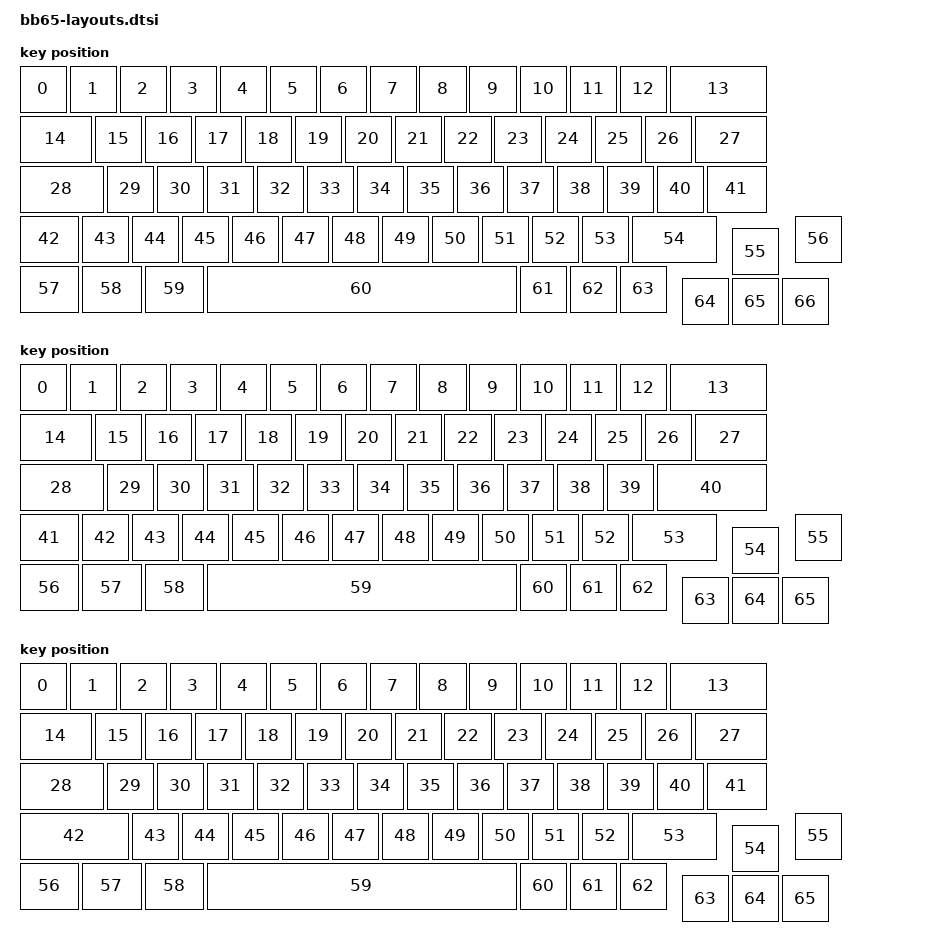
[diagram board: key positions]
/*
 * Copyright (c) 2024 The ZMK Contributors
 *
 * SPDX-License-Identifier: MIT
 */

#include <physical_layouts.dtsi>

/ {
    chosen {
        zmk,physical-layout = &default_layout;
    };

    default_layout: physical_layout_0 {
        compatible = "zmk,physical-layout";
        display-name = "Split Left Shift/Split Enter/6.25u";

        transform = <&default_transform>;
        keys  //                     w   h    x    y     rot   rx   ry
            = <&key_physical_attrs 100 100    0    0       0    0    0>
            , <&key_physical_attrs 100 100  100    0       0    0    0>
            , <&key_physical_attrs 100 100  200    0       0    0    0>
            , <&key_physical_attrs 100 100  300    0       0    0    0>
            , <&key_physical_attrs 100 100  400    0       0    0    0>
            , <&key_physical_attrs 100 100  500    0       0    0    0>
            , <&key_physical_attrs 100 100  600    0       0    0    0>
            , <&key_physical_attrs 100 100  700    0       0    0    0>
            , <&key_physical_attrs 100 100  800    0       0    0    0>
            , <&key_physical_attrs 100 100  900    0       0    0    0>
            , <&key_physical_attrs 100 100 1000    0       0    0    0>
            , <&key_physical_attrs 100 100 1100    0       0    0    0>
            , <&key_physical_attrs 100 100 1200    0       0    0    0>
            , <&key_physical_attrs 200 100 1300    0       0    0    0>
            , <&key_physical_attrs 150 100    0  100       0    0    0>
            , <&key_physical_attrs 100 100  150  100       0    0    0>
            , <&key_physical_attrs 100 100  250  100       0    0    0>
            , <&key_physical_attrs 100 100  350  100       0    0    0>
            , <&key_physical_attrs 100 100  450  100       0    0    0>
            , <&key_physical_attrs 100 100  550  100       0    0    0>
            , <&key_physical_attrs 100 100  650  100       0    0    0>
            , <&key_physical_attrs 100 100  750  100       0    0    0>
            , <&key_physical_attrs 100 100  850  100       0    0    0>
            , <&key_physical_attrs 100 100  950  100       0    0    0>
            , <&key_physical_attrs 100 100 1050  100       0    0    0>
            , <&key_physical_attrs 100 100 1150  100       0    0    0>
            , <&key_physical_attrs 100 100 1250  100       0    0    0>
            , <&key_physical_attrs 150 100 1350  100       0    0    0>
            , <&key_physical_attrs 175 100    0  200       0    0    0>
            , <&key_physical_attrs 100 100  175  200       0    0    0>
            , <&key_physical_attrs 100 100  275  200       0    0    0>
            , <&key_physical_attrs 100 100  375  200       0    0    0>
            , <&key_physical_attrs 100 100  475  200       0    0    0>
            , <&key_physical_attrs 100 100  575  200       0    0    0>
            , <&key_physical_attrs 100 100  675  200       0    0    0>
            , <&key_physical_attrs 100 100  775  200       0    0    0>
            , <&key_physical_attrs 100 100  875  200       0    0    0>
            , <&key_physical_attrs 100 100  975  200       0    0    0>
            , <&key_physical_attrs 100 100 1075  200       0    0    0>
            , <&key_physical_attrs 100 100 1175  200       0    0    0>
            , <&key_physical_attrs 100 100 1275  200       0    0    0>
            , <&key_physical_attrs 125 100 1375  200       0    0    0>
            , <&key_physical_attrs 125 100    0  300       0    0    0>
            , <&key_physical_attrs 100 100  125  300       0    0    0>
            , <&key_physical_attrs 100 100  225  300       0    0    0>
            , <&key_physical_attrs 100 100  325  300       0    0    0>
            , <&key_physical_attrs 100 100  425  300       0    0    0>
            , <&key_physical_attrs 100 100  525  300       0    0    0>
            , <&key_physical_attrs 100 100  625  300       0    0    0>
            , <&key_physical_attrs 100 100  725  300       0    0    0>
            , <&key_physical_attrs 100 100  825  300       0    0    0>
            , <&key_physical_attrs 100 100  925  300       0    0    0>
            , <&key_physical_attrs 100 100 1025  300       0    0    0>
            , <&key_physical_attrs 100 100 1125  300       0    0    0>
            , <&key_physical_attrs 175 100 1225  300       0    0    0>
            , <&key_physical_attrs 100 100 1425  325       0    0    0>
            , <&key_physical_attrs 100 100 1550  300       0    0    0>
            , <&key_physical_attrs 125 100    0  400       0    0    0>
            , <&key_physical_attrs 125 100  125  400       0    0    0>
            , <&key_physical_attrs 125 100  250  400       0    0    0>
            , <&key_physical_attrs 625 100  375  400       0    0    0>
            , <&key_physical_attrs 100 100 1000  400       0    0    0>
            , <&key_physical_attrs 100 100 1100  400       0    0    0>
            , <&key_physical_attrs 100 100 1200  400       0    0    0>
            , <&key_physical_attrs 100 100 1325  425       0    0    0>
            , <&key_physical_attrs 100 100 1425  425       0    0    0>
            , <&key_physical_attrs 100 100 1525  425       0    0    0>
            ;
    };

    full_enter_layout: physical_layout_1 {
        compatible = "zmk,physical-layout";
        display-name = "Full Enter/Split Left Shift/6.25u";

        transform = <&full_enter_transform>;
        keys  //                     w   h    x    y     rot   rx   ry
            = <&key_physical_attrs 100 100    0    0       0    0    0>
            , <&key_physical_attrs 100 100  100    0       0    0    0>
            , <&key_physical_attrs 100 100  200    0       0    0    0>
            , <&key_physical_attrs 100 100  300    0       0    0    0>
            , <&key_physical_attrs 100 100  400    0       0    0    0>
            , <&key_physical_attrs 100 100  500    0       0    0    0>
            , <&key_physical_attrs 100 100  600    0       0    0    0>
            , <&key_physical_attrs 100 100  700    0       0    0    0>
            , <&key_physical_attrs 100 100  800    0       0    0    0>
            , <&key_physical_attrs 100 100  900    0       0    0    0>
            , <&key_physical_attrs 100 100 1000    0       0    0    0>
            , <&key_physical_attrs 100 100 1100    0       0    0    0>
            , <&key_physical_attrs 100 100 1200    0       0    0    0>
            , <&key_physical_attrs 200 100 1300    0       0    0    0>
            , <&key_physical_attrs 150 100    0  100       0    0    0>
            , <&key_physical_attrs 100 100  150  100       0    0    0>
            , <&key_physical_attrs 100 100  250  100       0    0    0>
            , <&key_physical_attrs 100 100  350  100       0    0    0>
            , <&key_physical_attrs 100 100  450  100       0    0    0>
            , <&key_physical_attrs 100 100  550  100       0    0    0>
            , <&key_physical_attrs 100 100  650  100       0    0    0>
            , <&key_physical_attrs 100 100  750  100       0    0    0>
            , <&key_physical_attrs 100 100  850  100       0    0    0>
            , <&key_physical_attrs 100 100  950  100       0    0    0>
            , <&key_physical_attrs 100 100 1050  100       0    0    0>
            , <&key_physical_attrs 100 100 1150  100       0    0    0>
            , <&key_physical_attrs 100 100 1250  100       0    0    0>
            , <&key_physical_attrs 150 100 1350  100       0    0    0>
            , <&key_physical_attrs 175 100    0  200       0    0    0>
            , <&key_physical_attrs 100 100  175  200       0    0    0>
            , <&key_physical_attrs 100 100  275  200       0    0    0>
            , <&key_physical_attrs 100 100  375  200       0    0    0>
            , <&key_physical_attrs 100 100  475  200       0    0    0>
            , <&key_physical_attrs 100 100  575  200       0    0    0>
            , <&key_physical_attrs 100 100  675  200       0    0    0>
            , <&key_physical_attrs 100 100  775  200       0    0    0>
            , <&key_physical_attrs 100 100  875  200       0    0    0>
            , <&key_physical_attrs 100 100  975  200       0    0    0>
            , <&key_physical_attrs 100 100 1075  200       0    0    0>
            , <&key_physical_attrs 100 100 1175  200       0    0    0>
            , <&key_physical_attrs 225 100 1275  200       0    0    0>
            , <&key_physical_attrs 125 100    0  300       0    0    0>
            , <&key_physical_attrs 100 100  125  300       0    0    0>
            , <&key_physical_attrs 100 100  225  300       0    0    0>
            , <&key_physical_attrs 100 100  325  300       0    0    0>
            , <&key_physical_attrs 100 100  425  300       0    0    0>
            , <&key_physical_attrs 100 100  525  300       0    0    0>
            , <&key_physical_attrs 100 100  625  300       0    0    0>
            , <&key_physical_attrs 100 100  725  300       0    0    0>
            , <&key_physical_attrs 100 100  825  300       0    0    0>
            , <&key_physical_attrs 100 100  925  300       0    0    0>
            , <&key_physical_attrs 100 100 1025  300       0    0    0>
            , <&key_physical_attrs 100 100 1125  300       0    0    0>
            , <&key_physical_attrs 175 100 1225  300       0    0    0>
            , <&key_physical_attrs 100 100 1425  325       0    0    0>
            , <&key_physical_attrs 100 100 1550  300       0    0    0>
            , <&key_physical_attrs 125 100    0  400       0    0    0>
            , <&key_physical_attrs 125 100  125  400       0    0    0>
            , <&key_physical_attrs 125 100  250  400       0    0    0>
            , <&key_physical_attrs 625 100  375  400       0    0    0>
            , <&key_physical_attrs 100 100 1000  400       0    0    0>
            , <&key_physical_attrs 100 100 1100  400       0    0    0>
            , <&key_physical_attrs 100 100 1200  400       0    0    0>
            , <&key_physical_attrs 100 100 1325  425       0    0    0>
            , <&key_physical_attrs 100 100 1425  425       0    0    0>
            , <&key_physical_attrs 100 100 1525  425       0    0    0>
            ;
    };

    full_lshift_layout: physical_layout_2 {
        compatible = "zmk,physical-layout";
        display-name = "Split Enter/Full Left Shift/6.25u";

        transform = <&full_lshift_transform>;
        keys  //                     w   h    x    y     rot   rx   ry
            = <&key_physical_attrs 100 100    0    0       0    0    0>
            , <&key_physical_attrs 100 100  100    0       0    0    0>
            , <&key_physical_attrs 100 100  200    0       0    0    0>
            , <&key_physical_attrs 100 100  300    0       0    0    0>
            , <&key_physical_attrs 100 100  400    0       0    0    0>
            , <&key_physical_attrs 100 100  500    0       0    0    0>
            , <&key_physical_attrs 100 100  600    0       0    0    0>
            , <&key_physical_attrs 100 100  700    0       0    0    0>
            , <&key_physical_attrs 100 100  800    0       0    0    0>
            , <&key_physical_attrs 100 100  900    0       0    0    0>
            , <&key_physical_attrs 100 100 1000    0       0    0    0>
            , <&key_physical_attrs 100 100 1100    0       0    0    0>
            , <&key_physical_attrs 100 100 1200    0       0    0    0>
            , <&key_physical_attrs 200 100 1300    0       0    0    0>
            , <&key_physical_attrs 150 100    0  100       0    0    0>
            , <&key_physical_attrs 100 100  150  100       0    0    0>
            , <&key_physical_attrs 100 100  250  100       0    0    0>
            , <&key_physical_attrs 100 100  350  100       0    0    0>
            , <&key_physical_attrs 100 100  450  100       0    0    0>
            , <&key_physical_attrs 100 100  550  100       0    0    0>
            , <&key_physical_attrs 100 100  650  100       0    0    0>
            , <&key_physical_attrs 100 100  750  100       0    0    0>
            , <&key_physical_attrs 100 100  850  100       0    0    0>
            , <&key_physical_attrs 100 100  950  100       0    0    0>
            , <&key_physical_attrs 100 100 1050  100       0    0    0>
            , <&key_physical_attrs 100 100 1150  100       0    0    0>
            , <&key_physical_attrs 100 100 1250  100       0    0    0>
            , <&key_physical_attrs 150 100 1350  100       0    0    0>
            , <&key_physical_attrs 175 100    0  200       0    0    0>
            , <&key_physical_attrs 100 100  175  200       0    0    0>
            , <&key_physical_attrs 100 100  275  200       0    0    0>
            , <&key_physical_attrs 100 100  375  200       0    0    0>
            , <&key_physical_attrs 100 100  475  200       0    0    0>
            , <&key_physical_attrs 100 100  575  200       0    0    0>
            , <&key_physical_attrs 100 100  675  200       0    0    0>
            , <&key_physical_attrs 100 100  775  200       0    0    0>
            , <&key_physical_attrs 100 100  875  200       0    0    0>
            , <&key_physical_attrs 100 100  975  200       0    0    0>
            , <&key_physical_attrs 100 100 1075  200       0    0    0>
            , <&key_physical_attrs 100 100 1175  200       0    0    0>
            , <&key_physical_attrs 100 100 1275  200       0    0    0>
            , <&key_physical_attrs 125 100 1375  200       0    0    0>
            , <&key_physical_attrs 225 100    0  300       0    0    0>
            , <&key_physical_attrs 100 100  225  300       0    0    0>
            , <&key_physical_attrs 100 100  325  300       0    0    0>
            , <&key_physical_attrs 100 100  425  300       0    0    0>
            , <&key_physical_attrs 100 100  525  300       0    0    0>
            , <&key_physical_attrs 100 100  625  300       0    0    0>
            , <&key_physical_attrs 100 100  725  300       0    0    0>
            , <&key_physical_attrs 100 100  825  300       0    0    0>
            , <&key_physical_attrs 100 100  925  300       0    0    0>
            , <&key_physical_attrs 100 100 1025  300       0    0    0>
            , <&key_physical_attrs 100 100 1125  300       0    0    0>
            , <&key_physical_attrs 175 100 1225  300       0    0    0>
            , <&key_physical_attrs 100 100 1425  325       0    0    0>
            , <&key_physical_attrs 100 100 1550  300       0    0    0>
            , <&key_physical_attrs 125 100    0  400       0    0    0>
            , <&key_physical_attrs 125 100  125  400       0    0    0>
            , <&key_physical_attrs 125 100  250  400       0    0    0>
            , <&key_physical_attrs 625 100  375  400       0    0    0>
            , <&key_physical_attrs 100 100 1000  400       0    0    0>
            , <&key_physical_attrs 100 100 1100  400       0    0    0>
            , <&key_physical_attrs 100 100 1200  400       0    0    0>
            , <&key_physical_attrs 100 100 1325  425       0    0    0>
            , <&key_physical_attrs 100 100 1425  425       0    0    0>
            , <&key_physical_attrs 100 100 1525  425       0    0    0>
            ;
    };

    menuless_layout: physical_layout_3 {
        compatible = "zmk,physical-layout";
        display-name = "Split Enter/Split Left Shift/Menuless/6.25u";

        transform = <&menuless_transform>;
        keys  //                     w   h    x    y     rot   rx   ry
            = <&key_physical_attrs 100 100    0    0       0    0    0>
            , <&key_physical_attrs 100 100  100    0       0    0    0>
            , <&key_physical_attrs 100 100  200    0       0    0    0>
            , <&key_physical_attrs 100 100  300    0       0    0    0>
            , <&key_physical_attrs 100 100  400    0       0    0    0>
            , <&key_physical_attrs 100 100  500    0       0    0    0>
            , <&key_physical_attrs 100 100  600    0       0    0    0>
            , <&key_physical_attrs 100 100  700    0       0    0    0>
            , <&key_physical_attrs 100 100  800    0       0    0    0>
            , <&key_physical_attrs 100 100  900    0       0    0    0>
            , <&key_physical_attrs 100 100 1000    0       0    0    0>
            , <&key_physical_attrs 100 100 1100    0       0    0    0>
            , <&key_physical_attrs 100 100 1200    0       0    0    0>
            , <&key_physical_attrs 200 100 1300    0       0    0    0>
            , <&key_physical_attrs 150 100    0  100       0    0    0>
            , <&key_physical_attrs 100 100  150  100       0    0    0>
            , <&key_physical_attrs 100 100  250  100       0    0    0>
            , <&key_physical_attrs 100 100  350  100       0    0    0>
            , <&key_physical_attrs 100 100  450  100       0    0    0>
            , <&key_physical_attrs 100 100  550  100       0    0    0>
            , <&key_physical_attrs 100 100  650  100       0    0    0>
            , <&key_physical_attrs 100 100  750  100       0    0    0>
            , <&key_physical_attrs 100 100  850  100       0    0    0>
            , <&key_physical_attrs 100 100  950  100       0    0    0>
            , <&key_physical_attrs 100 100 1050  100       0    0    0>
            , <&key_physical_attrs 100 100 1150  100       0    0    0>
            , <&key_physical_attrs 100 100 1250  100       0    0    0>
            , <&key_physical_attrs 150 100 1350  100       0    0    0>
            , <&key_physical_attrs 175 100    0  200       0    0    0>
            , <&key_physical_attrs 100 100  175  200       0    0    0>
            , <&key_physical_attrs 100 100  275  200       0    0    0>
            , <&key_physical_attrs 100 100  375  200       0    0    0>
            , <&key_physical_attrs 100 100  475  200       0    0    0>
            , <&key_physical_attrs 100 100  575  200       0    0    0>
            , <&key_physical_attrs 100 100  675  200       0    0    0>
            , <&key_physical_attrs 100 100  775  200       0    0    0>
            , <&key_physical_attrs 100 100  875  200       0    0    0>
            , <&key_physical_attrs 100 100  975  200       0    0    0>
            , <&key_physical_attrs 100 100 1075  200       0    0    0>
            , <&key_physical_attrs 100 100 1175  200       0    0    0>
            , <&key_physical_attrs 100 100 1275  200       0    0    0>
            , <&key_physical_attrs 125 100 1375  200       0    0    0>
            , <&key_physical_attrs 125 100    0  300       0    0    0>
            , <&key_physical_attrs 100 100  125  300       0    0    0>
            , <&key_physical_attrs 100 100  225  300       0    0    0>
            , <&key_physical_attrs 100 100  325  300       0    0    0>
            , <&key_physical_attrs 100 100  425  300       0    0    0>
            , <&key_physical_attrs 100 100  525  300       0    0    0>
            , <&key_physical_attrs 100 100  625  300       0    0    0>
            , <&key_physical_attrs 100 100  725  300       0    0    0>
            , <&key_physical_attrs 100 100  825  300       0    0    0>
            , <&key_physical_attrs 100 100  925  300       0    0    0>
            , <&key_physical_attrs 100 100 1025  300       0    0    0>
            , <&key_physical_attrs 100 100 1125  300       0    0    0>
            , <&key_physical_attrs 175 100 1225  300       0    0    0>
            , <&key_physical_attrs 100 100 1425  325       0    0    0>
            , <&key_physical_attrs 100 100 1550  300       0    0    0>
            , <&key_physical_attrs 125 100    0  400       0    0    0>
            , <&key_physical_attrs 125 100  125  400       0    0    0>
            , <&key_physical_attrs 125 100  250  400       0    0    0>
            , <&key_physical_attrs 625 100  375  400       0    0    0>
            , <&key_physical_attrs 150 100 1000  400       0    0    0>
            , <&key_physical_attrs 150 100 1150  400       0    0    0>
            , <&key_physical_attrs 100 100 1325  425       0    0    0>
            , <&key_physical_attrs 100 100 1425  425       0    0    0>
            , <&key_physical_attrs 100 100 1525  425       0    0    0>
            ;
    };

    full_enter_menuless_layout: physical_layout_4 {
        compatible = "zmk,physical-layout";
        display-name = "Full Enter/Split Left Shift/Menuless/6.25u";

        transform = <&full_enter_menuless_transform>;
        keys  //                     w   h    x    y     rot   rx   ry
            = <&key_physical_attrs 100 100    0    0       0    0    0>
            , <&key_physical_attrs 100 100  100    0       0    0    0>
            , <&key_physical_attrs 100 100  200    0       0    0    0>
            , <&key_physical_attrs 100 100  300    0       0    0    0>
            , <&key_physical_attrs 100 100  400    0       0    0    0>
            , <&key_physical_attrs 100 100  500    0       0    0    0>
            , <&key_physical_attrs 100 100  600    0       0    0    0>
            , <&key_physical_attrs 100 100  700    0       0    0    0>
            , <&key_physical_attrs 100 100  800    0       0    0    0>
            , <&key_physical_attrs 100 100  900    0       0    0    0>
            , <&key_physical_attrs 100 100 1000    0       0    0    0>
            , <&key_physical_attrs 100 100 1100    0       0    0    0>
            , <&key_physical_attrs 100 100 1200    0       0    0    0>
            , <&key_physical_attrs 200 100 1300    0       0    0    0>
            , <&key_physical_attrs 150 100    0  100       0    0    0>
            , <&key_physical_attrs 100 100  150  100       0    0    0>
            , <&key_physical_attrs 100 100  250  100       0    0    0>
            , <&key_physical_attrs 100 100  350  100       0    0    0>
            , <&key_physical_attrs 100 100  450  100       0    0    0>
            , <&key_physical_attrs 100 100  550  100       0    0    0>
            , <&key_physical_attrs 100 100  650  100       0    0    0>
            , <&key_physical_attrs 100 100  750  100       0    0    0>
            , <&key_physical_attrs 100 100  850  100       0    0    0>
            , <&key_physical_attrs 100 100  950  100       0    0    0>
            , <&key_physical_attrs 100 100 1050  100       0    0    0>
            , <&key_physical_attrs 100 100 1150  100       0    0    0>
            , <&key_physical_attrs 100 100 1250  100       0    0    0>
            , <&key_physical_attrs 150 100 1350  100       0    0    0>
            , <&key_physical_attrs 175 100    0  200       0    0    0>
            , <&key_physical_attrs 100 100  175  200       0    0    0>
            , <&key_physical_attrs 100 100  275  200       0    0    0>
            , <&key_physical_attrs 100 100  375  200       0    0    0>
            , <&key_physical_attrs 100 100  475  200       0    0    0>
            , <&key_physical_attrs 100 100  575  200       0    0    0>
            , <&key_physical_attrs 100 100  675  200       0    0    0>
            , <&key_physical_attrs 100 100  775  200       0    0    0>
            , <&key_physical_attrs 100 100  875  200       0    0    0>
            , <&key_physical_attrs 100 100  975  200       0    0    0>
            , <&key_physical_attrs 100 100 1075  200       0    0    0>
            , <&key_physical_attrs 100 100 1175  200       0    0    0>
            , <&key_physical_attrs 225 100 1275  200       0    0    0>
            , <&key_physical_attrs 125 100    0  300       0    0    0>
            , <&key_physical_attrs 100 100  125  300       0    0    0>
            , <&key_physical_attrs 100 100  225  300       0    0    0>
            , <&key_physical_attrs 100 100  325  300       0    0    0>
            , <&key_physical_attrs 100 100  425  300       0    0    0>
            , <&key_physical_attrs 100 100  525  300       0    0    0>
            , <&key_physical_attrs 100 100  625  300       0    0    0>
            , <&key_physical_attrs 100 100  725  300       0    0    0>
            , <&key_physical_attrs 100 100  825  300       0    0    0>
            , <&key_physical_attrs 100 100  925  300       0    0    0>
            , <&key_physical_attrs 100 100 1025  300       0    0    0>
            , <&key_physical_attrs 100 100 1125  300       0    0    0>
            , <&key_physical_attrs 175 100 1225  300       0    0    0>
            , <&key_physical_attrs 100 100 1425  325       0    0    0>
            , <&key_physical_attrs 100 100 1550  300       0    0    0>
            , <&key_physical_attrs 125 100    0  400       0    0    0>
            , <&key_physical_attrs 125 100  125  400       0    0    0>
            , <&key_physical_attrs 125 100  250  400       0    0    0>
            , <&key_physical_attrs 625 100  375  400       0    0    0>
            , <&key_physical_attrs 150 100 1000  400       0    0    0>
            , <&key_physical_attrs 150 100 1150  400       0    0    0>
            , <&key_physical_attrs 100 100 1325  425       0    0    0>
            , <&key_physical_attrs 100 100 1425  425       0    0    0>
            , <&key_physical_attrs 100 100 1525  425       0    0    0>
            ;
    };

    full_lshift_menuless_layout: physical_layout_5 {
        compatible = "zmk,physical-layout";
        display-name = "Split Enter/Full Left Shift/Menuless/6.25u";

        transform = <&full_lshift_menuless_transform>;
        keys  //                     w   h    x    y     rot   rx   ry
            = <&key_physical_attrs 100 100    0    0       0    0    0>
            , <&key_physical_attrs 100 100  100    0       0    0    0>
            , <&key_physical_attrs 100 100  200    0       0    0    0>
            , <&key_physical_attrs 100 100  300    0       0    0    0>
            , <&key_physical_attrs 100 100  400    0       0    0    0>
            , <&key_physical_attrs 100 100  500    0       0    0    0>
            , <&key_physical_attrs 100 100  600    0       0    0    0>
            , <&key_physical_attrs 100 100  700    0       0    0    0>
            , <&key_physical_attrs 100 100  800    0       0    0    0>
            , <&key_physical_attrs 100 100  900    0       0    0    0>
            , <&key_physical_attrs 100 100 1000    0       0    0    0>
            , <&key_physical_attrs 100 100 1100    0       0    0    0>
            , <&key_physical_attrs 100 100 1200    0       0    0    0>
            , <&key_physical_attrs 200 100 1300    0       0    0    0>
            , <&key_physical_attrs 150 100    0  100       0    0    0>
            , <&key_physical_attrs 100 100  150  100       0    0    0>
            , <&key_physical_attrs 100 100  250  100       0    0    0>
            , <&key_physical_attrs 100 100  350  100       0    0    0>
            , <&key_physical_attrs 100 100  450  100       0    0    0>
            , <&key_physical_attrs 100 100  550  100       0    0    0>
            , <&key_physical_attrs 100 100  650  100       0    0    0>
            , <&key_physical_attrs 100 100  750  100       0    0    0>
            , <&key_physical_attrs 100 100  850  100       0    0    0>
            , <&key_physical_attrs 100 100  950  100       0    0    0>
            , <&key_physical_attrs 100 100 1050  100       0    0    0>
            , <&key_physical_attrs 100 100 1150  100       0    0    0>
            , <&key_physical_attrs 100 100 1250  100       0    0    0>
            , <&key_physical_attrs 150 100 1350  100       0    0    0>
            , <&key_physical_attrs 175 100    0  200       0    0    0>
            , <&key_physical_attrs 100 100  175  200       0    0    0>
            , <&key_physical_attrs 100 100  275  200       0    0    0>
            , <&key_physical_attrs 100 100  375  200       0    0    0>
            , <&key_physical_attrs 100 100  475  200       0    0    0>
            , <&key_physical_attrs 100 100  575  200       0    0    0>
            , <&key_physical_attrs 100 100  675  200       0    0    0>
            , <&key_physical_attrs 100 100  775  200       0    0    0>
            , <&key_physical_attrs 100 100  875  200       0    0    0>
            , <&key_physical_attrs 100 100  975  200       0    0    0>
            , <&key_physical_attrs 100 100 1075  200       0    0    0>
            , <&key_physical_attrs 100 100 1175  200       0    0    0>
            , <&key_physical_attrs 100 100 1275  200       0    0    0>
            , <&key_physical_attrs 125 100 1375  200       0    0    0>
            , <&key_physical_attrs 225 100    0  300       0    0    0>
            , <&key_physical_attrs 100 100  225  300       0    0    0>
            , <&key_physical_attrs 100 100  325  300       0    0    0>
            , <&key_physical_attrs 100 100  425  300       0    0    0>
            , <&key_physical_attrs 100 100  525  300       0    0    0>
            , <&key_physical_attrs 100 100  625  300       0    0    0>
            , <&key_physical_attrs 100 100  725  300       0    0    0>
            , <&key_physical_attrs 100 100  825  300       0    0    0>
            , <&key_physical_attrs 100 100  925  300       0    0    0>
            , <&key_physical_attrs 100 100 1025  300       0    0    0>
            , <&key_physical_attrs 100 100 1125  300       0    0    0>
            , <&key_physical_attrs 175 100 1225  300       0    0    0>
            , <&key_physical_attrs 100 100 1425  325       0    0    0>
            , <&key_physical_attrs 100 100 1550  300       0    0    0>
            , <&key_physical_attrs 125 100    0  400       0    0    0>
            , <&key_physical_attrs 125 100  125  400       0    0    0>
            , <&key_physical_attrs 125 100  250  400       0    0    0>
            , <&key_physical_attrs 625 100  375  400       0    0    0>
            , <&key_physical_attrs 150 100 1000  400       0    0    0>
            , <&key_physical_attrs 150 100 1150  400       0    0    0>
            , <&key_physical_attrs 100 100 1325  425       0    0    0>
            , <&key_physical_attrs 100 100 1425  425       0    0    0>
            , <&key_physical_attrs 100 100 1525  425       0    0    0>
            ;
    };

    full_enter_full_lshift_layout: physical_layout_6 {
        compatible = "zmk,physical-layout";
        display-name = "Full Enter/Full Left Shift/6.25u";

        transform = <&full_enter_full_lshift_transform>;
        keys  //                     w   h    x    y     rot   rx   ry
            = <&key_physical_attrs 100 100    0    0       0    0    0>
            , <&key_physical_attrs 100 100  100    0       0    0    0>
            , <&key_physical_attrs 100 100  200    0       0    0    0>
            , <&key_physical_attrs 100 100  300    0       0    0    0>
            , <&key_physical_attrs 100 100  400    0       0    0    0>
            , <&key_physical_attrs 100 100  500    0       0    0    0>
            , <&key_physical_attrs 100 100  600    0       0    0    0>
            , <&key_physical_attrs 100 100  700    0       0    0    0>
            , <&key_physical_attrs 100 100  800    0       0    0    0>
            , <&key_physical_attrs 100 100  900    0       0    0    0>
            , <&key_physical_attrs 100 100 1000    0       0    0    0>
            , <&key_physical_attrs 100 100 1100    0       0    0    0>
            , <&key_physical_attrs 100 100 1200    0       0    0    0>
            , <&key_physical_attrs 200 100 1300    0       0    0    0>
            , <&key_physical_attrs 150 100    0  100       0    0    0>
            , <&key_physical_attrs 100 100  150  100       0    0    0>
            , <&key_physical_attrs 100 100  250  100       0    0    0>
            , <&key_physical_attrs 100 100  350  100       0    0    0>
            , <&key_physical_attrs 100 100  450  100       0    0    0>
            , <&key_physical_attrs 100 100  550  100       0    0    0>
            , <&key_physical_attrs 100 100  650  100       0    0    0>
            , <&key_physical_attrs 100 100  750  100       0    0    0>
            , <&key_physical_attrs 100 100  850  100       0    0    0>
            , <&key_physical_attrs 100 100  950  100       0    0    0>
            , <&key_physical_attrs 100 100 1050  100       0    0    0>
            , <&key_physical_attrs 100 100 1150  100       0    0    0>
            , <&key_physical_attrs 100 100 1250  100       0    0    0>
            , <&key_physical_attrs 150 100 1350  100       0    0    0>
            , <&key_physical_attrs 175 100    0  200       0    0    0>
            , <&key_physical_attrs 100 100  175  200       0    0    0>
            , <&key_physical_attrs 100 100  275  200       0    0    0>
            , <&key_physical_attrs 100 100  375  200       0    0    0>
            , <&key_physical_attrs 100 100  475  200       0    0    0>
            , <&key_physical_attrs 100 100  575  200       0    0    0>
            , <&key_physical_attrs 100 100  675  200       0    0    0>
            , <&key_physical_attrs 100 100  775  200       0    0    0>
            , <&key_physical_attrs 100 100  875  200       0    0    0>
            , <&key_physical_attrs 100 100  975  200       0    0    0>
            , <&key_physical_attrs 100 100 1075  200       0    0    0>
            , <&key_physical_attrs 100 100 1175  200       0    0    0>
            , <&key_physical_attrs 225 100 1275  200       0    0    0>
            , <&key_physical_attrs 225 100    0  300       0    0    0>
            , <&key_physical_attrs 100 100  225  300       0    0    0>
            , <&key_physical_attrs 100 100  325  300       0    0    0>
            , <&key_physical_attrs 100 100  425  300       0    0    0>
            , <&key_physical_attrs 100 100  525  300       0    0    0>
            , <&key_physical_attrs 100 100  625  300       0    0    0>
            , <&key_physical_attrs 100 100  725  300       0    0    0>
            , <&key_physical_attrs 100 100  825  300       0    0    0>
            , <&key_physical_attrs 100 100  925  300       0    0    0>
            , <&key_physical_attrs 100 100 1025  300       0    0    0>
            , <&key_physical_attrs 100 100 1125  300       0    0    0>
            , <&key_physical_attrs 175 100 1225  300       0    0    0>
            , <&key_physical_attrs 100 100 1425  325       0    0    0>
            , <&key_physical_attrs 100 100 1550  300       0    0    0>
            , <&key_physical_attrs 125 100    0  400       0    0    0>
            , <&key_physical_attrs 125 100  125  400       0    0    0>
            , <&key_physical_attrs 125 100  250  400       0    0    0>
            , <&key_physical_attrs 625 100  375  400       0    0    0>
            , <&key_physical_attrs 100 100 1000  400       0    0    0>
            , <&key_physical_attrs 100 100 1100  400       0    0    0>
            , <&key_physical_attrs 100 100 1200  400       0    0    0>
            , <&key_physical_attrs 100 100 1325  425       0    0    0>
            , <&key_physical_attrs 100 100 1425  425       0    0    0>
            , <&key_physical_attrs 100 100 1525  425       0    0    0>
            ;
    };

    full_enter_full_lshift_menuless_layout: physical_layout_7 {
        compatible = "zmk,physical-layout";
        display-name = "Full Enter/Full Left Shift/Menuless/6.25u";

        transform = <&full_enter_full_lshift_menuless_transform>;
        keys  //                     w   h    x    y     rot   rx   ry
            = <&key_physical_attrs 100 100    0    0       0    0    0>
            , <&key_physical_attrs 100 100  100    0       0    0    0>
            , <&key_physical_attrs 100 100  200    0       0    0    0>
            , <&key_physical_attrs 100 100  300    0       0    0    0>
            , <&key_physical_attrs 100 100  400    0       0    0    0>
            , <&key_physical_attrs 100 100  500    0       0    0    0>
            , <&key_physical_attrs 100 100  600    0       0    0    0>
            , <&key_physical_attrs 100 100  700    0       0    0    0>
            , <&key_physical_attrs 100 100  800    0       0    0    0>
            , <&key_physical_attrs 100 100  900    0       0    0    0>
            , <&key_physical_attrs 100 100 1000    0       0    0    0>
            , <&key_physical_attrs 100 100 1100    0       0    0    0>
            , <&key_physical_attrs 100 100 1200    0       0    0    0>
            , <&key_physical_attrs 200 100 1300    0       0    0    0>
            , <&key_physical_attrs 150 100    0  100       0    0    0>
            , <&key_physical_attrs 100 100  150  100       0    0    0>
            , <&key_physical_attrs 100 100  250  100       0    0    0>
            , <&key_physical_attrs 100 100  350  100       0    0    0>
            , <&key_physical_attrs 100 100  450  100       0    0    0>
            , <&key_physical_attrs 100 100  550  100       0    0    0>
            , <&key_physical_attrs 100 100  650  100       0    0    0>
            , <&key_physical_attrs 100 100  750  100       0    0    0>
            , <&key_physical_attrs 100 100  850  100       0    0    0>
            , <&key_physical_attrs 100 100  950  100       0    0    0>
            , <&key_physical_attrs 100 100 1050  100       0    0    0>
            , <&key_physical_attrs 100 100 1150  100       0    0    0>
            , <&key_physical_attrs 100 100 1250  100       0    0    0>
            , <&key_physical_attrs 150 100 1350  100       0    0    0>
            , <&key_physical_attrs 175 100    0  200       0    0    0>
            , <&key_physical_attrs 100 100  175  200       0    0    0>
            , <&key_physical_attrs 100 100  275  200       0    0    0>
            , <&key_physical_attrs 100 100  375  200       0    0    0>
            , <&key_physical_attrs 100 100  475  200       0    0    0>
            , <&key_physical_attrs 100 100  575  200       0    0    0>
            , <&key_physical_attrs 100 100  675  200       0    0    0>
            , <&key_physical_attrs 100 100  775  200       0    0    0>
            , <&key_physical_attrs 100 100  875  200       0    0    0>
            , <&key_physical_attrs 100 100  975  200       0    0    0>
            , <&key_physical_attrs 100 100 1075  200       0    0    0>
            , <&key_physical_attrs 100 100 1175  200       0    0    0>
            , <&key_physical_attrs 225 100 1275  200       0    0    0>
            , <&key_physical_attrs 225 100    0  300       0    0    0>
            , <&key_physical_attrs 100 100  225  300       0    0    0>
            , <&key_physical_attrs 100 100  325  300       0    0    0>
            , <&key_physical_attrs 100 100  425  300       0    0    0>
            , <&key_physical_attrs 100 100  525  300       0    0    0>
            , <&key_physical_attrs 100 100  625  300       0    0    0>
            , <&key_physical_attrs 100 100  725  300       0    0    0>
            , <&key_physical_attrs 100 100  825  300       0    0    0>
            , <&key_physical_attrs 100 100  925  300       0    0    0>
            , <&key_physical_attrs 100 100 1025  300       0    0    0>
            , <&key_physical_attrs 100 100 1125  300       0    0    0>
            , <&key_physical_attrs 175 100 1225  300       0    0    0>
            , <&key_physical_attrs 100 100 1425  325       0    0    0>
            , <&key_physical_attrs 100 100 1550  300       0    0    0>
            , <&key_physical_attrs 125 100    0  400       0    0    0>
            , <&key_physical_attrs 125 100  125  400       0    0    0>
            , <&key_physical_attrs 125 100  250  400       0    0    0>
            , <&key_physical_attrs 625 100  375  400       0    0    0>
            , <&key_physical_attrs 150 100 1000  400       0    0    0>
            , <&key_physical_attrs 150 100 1150  400       0    0    0>
            , <&key_physical_attrs 100 100 1325  425       0    0    0>
            , <&key_physical_attrs 100 100 1425  425       0    0    0>
            , <&key_physical_attrs 100 100 1525  425       0    0    0>
            ;
    };

    big_bar_layout: physical_layout_8 {
        compatible = "zmk,physical-layout";
        display-name = "Split Enter/Split Left Shift/7u";

        transform = <&big_bar_transform>;
        keys  //                     w   h    x    y     rot   rx   ry
            = <&key_physical_attrs 100 100    0    0       0    0    0>
            , <&key_physical_attrs 100 100  100    0       0    0    0>
            , <&key_physical_attrs 100 100  200    0       0    0    0>
            , <&key_physical_attrs 100 100  300    0       0    0    0>
            , <&key_physical_attrs 100 100  400    0       0    0    0>
            , <&key_physical_attrs 100 100  500    0       0    0    0>
            , <&key_physical_attrs 100 100  600    0       0    0    0>
            , <&key_physical_attrs 100 100  700    0       0    0    0>
            , <&key_physical_attrs 100 100  800    0       0    0    0>
            , <&key_physical_attrs 100 100  900    0       0    0    0>
            , <&key_physical_attrs 100 100 1000    0       0    0    0>
            , <&key_physical_attrs 100 100 1100    0       0    0    0>
            , <&key_physical_attrs 100 100 1200    0       0    0    0>
            , <&key_physical_attrs 200 100 1300    0       0    0    0>
            , <&key_physical_attrs 150 100    0  100       0    0    0>
            , <&key_physical_attrs 100 100  150  100       0    0    0>
            , <&key_physical_attrs 100 100  250  100       0    0    0>
            , <&key_physical_attrs 100 100  350  100       0    0    0>
            , <&key_physical_attrs 100 100  450  100       0    0    0>
            , <&key_physical_attrs 100 100  550  100       0    0    0>
            , <&key_physical_attrs 100 100  650  100       0    0    0>
            , <&key_physical_attrs 100 100  750  100       0    0    0>
            , <&key_physical_attrs 100 100  850  100       0    0    0>
            , <&key_physical_attrs 100 100  950  100       0    0    0>
            , <&key_physical_attrs 100 100 1050  100       0    0    0>
            , <&key_physical_attrs 100 100 1150  100       0    0    0>
            , <&key_physical_attrs 100 100 1250  100       0    0    0>
            , <&key_physical_attrs 150 100 1350  100       0    0    0>
            , <&key_physical_attrs 175 100    0  200       0    0    0>
            , <&key_physical_attrs 100 100  175  200       0    0    0>
            , <&key_physical_attrs 100 100  275  200       0    0    0>
            , <&key_physical_attrs 100 100  375  200       0    0    0>
            , <&key_physical_attrs 100 100  475  200       0    0    0>
            , <&key_physical_attrs 100 100  575  200       0    0    0>
            , <&key_physical_attrs 100 100  675  200       0    0    0>
            , <&key_physical_attrs 100 100  775  200       0    0    0>
            , <&key_physical_attrs 100 100  875  200       0    0    0>
            , <&key_physical_attrs 100 100  975  200       0    0    0>
            , <&key_physical_attrs 100 100 1075  200       0    0    0>
            , <&key_physical_attrs 100 100 1175  200       0    0    0>
            , <&key_physical_attrs 100 100 1275  200       0    0    0>
            , <&key_physical_attrs 125 100 1375  200       0    0    0>
            , <&key_physical_attrs 125 100    0  300       0    0    0>
            , <&key_physical_attrs 100 100  125  300       0    0    0>
            , <&key_physical_attrs 100 100  225  300       0    0    0>
            , <&key_physical_attrs 100 100  325  300       0    0    0>
            , <&key_physical_attrs 100 100  425  300       0    0    0>
            , <&key_physical_attrs 100 100  525  300       0    0    0>
            , <&key_physical_attrs 100 100  625  300       0    0    0>
            , <&key_physical_attrs 100 100  725  300       0    0    0>
            , <&key_physical_attrs 100 100  825  300       0    0    0>
            , <&key_physical_attrs 100 100  925  300       0    0    0>
            , <&key_physical_attrs 100 100 1025  300       0    0    0>
            , <&key_physical_attrs 100 100 1125  300       0    0    0>
            , <&key_physical_attrs 175 100 1225  300       0    0    0>
            , <&key_physical_attrs 100 100 1425  325       0    0    0>
            , <&key_physical_attrs 100 100 1550  300       0    0    0>
            , <&key_physical_attrs 150 100    0  400       0    0    0>
            , <&key_physical_attrs 150 100  150  400       0    0    0>
            , <&key_physical_attrs 700 100  300  400       0    0    0>
            , <&key_physical_attrs 100 100 1000  400       0    0    0>
            , <&key_physical_attrs 100 100 1100  400       0    0    0>
            , <&key_physical_attrs 100 100 1200  400       0    0    0>
            , <&key_physical_attrs 100 100 1325  425       0    0    0>
            , <&key_physical_attrs 100 100 1425  425       0    0    0>
            , <&key_physical_attrs 100 100 1525  425       0    0    0>
            ;
    };

    big_bar_menuless_layout: physical_layout_9 {
        compatible = "zmk,physical-layout";
        display-name = "Split Enter/Split Left Shift/Menuless/7u";

        transform = <&big_bar_menuless_transform>;
        keys  //                     w   h    x    y     rot   rx   ry
            = <&key_physical_attrs 100 100    0    0       0    0    0>
            , <&key_physical_attrs 100 100  100    0       0    0    0>
            , <&key_physical_attrs 100 100  200    0       0    0    0>
            , <&key_physical_attrs 100 100  300    0       0    0    0>
            , <&key_physical_attrs 100 100  400    0       0    0    0>
            , <&key_physical_attrs 100 100  500    0       0    0    0>
            , <&key_physical_attrs 100 100  600    0       0    0    0>
            , <&key_physical_attrs 100 100  700    0       0    0    0>
            , <&key_physical_attrs 100 100  800    0       0    0    0>
            , <&key_physical_attrs 100 100  900    0       0    0    0>
            , <&key_physical_attrs 100 100 1000    0       0    0    0>
            , <&key_physical_attrs 100 100 1100    0       0    0    0>
            , <&key_physical_attrs 100 100 1200    0       0    0    0>
            , <&key_physical_attrs 200 100 1300    0       0    0    0>
            , <&key_physical_attrs 150 100    0  100       0    0    0>
            , <&key_physical_attrs 100 100  150  100       0    0    0>
            , <&key_physical_attrs 100 100  250  100       0    0    0>
            , <&key_physical_attrs 100 100  350  100       0    0    0>
            , <&key_physical_attrs 100 100  450  100       0    0    0>
            , <&key_physical_attrs 100 100  550  100       0    0    0>
            , <&key_physical_attrs 100 100  650  100       0    0    0>
            , <&key_physical_attrs 100 100  750  100       0    0    0>
            , <&key_physical_attrs 100 100  850  100       0    0    0>
            , <&key_physical_attrs 100 100  950  100       0    0    0>
            , <&key_physical_attrs 100 100 1050  100       0    0    0>
            , <&key_physical_attrs 100 100 1150  100       0    0    0>
            , <&key_physical_attrs 100 100 1250  100       0    0    0>
            , <&key_physical_attrs 150 100 1350  100       0    0    0>
            , <&key_physical_attrs 175 100    0  200       0    0    0>
            , <&key_physical_attrs 100 100  175  200       0    0    0>
            , <&key_physical_attrs 100 100  275  200       0    0    0>
            , <&key_physical_attrs 100 100  375  200       0    0    0>
            , <&key_physical_attrs 100 100  475  200       0    0    0>
            , <&key_physical_attrs 100 100  575  200       0    0    0>
            , <&key_physical_attrs 100 100  675  200       0    0    0>
            , <&key_physical_attrs 100 100  775  200       0    0    0>
            , <&key_physical_attrs 100 100  875  200       0    0    0>
            , <&key_physical_attrs 100 100  975  200       0    0    0>
            , <&key_physical_attrs 100 100 1075  200       0    0    0>
            , <&key_physical_attrs 100 100 1175  200       0    0    0>
            , <&key_physical_attrs 100 100 1275  200       0    0    0>
            , <&key_physical_attrs 125 100 1375  200       0    0    0>
            , <&key_physical_attrs 125 100    0  300       0    0    0>
            , <&key_physical_attrs 100 100  125  300       0    0    0>
            , <&key_physical_attrs 100 100  225  300       0    0    0>
            , <&key_physical_attrs 100 100  325  300       0    0    0>
            , <&key_physical_attrs 100 100  425  300       0    0    0>
            , <&key_physical_attrs 100 100  525  300       0    0    0>
            , <&key_physical_attrs 100 100  625  300       0    0    0>
            , <&key_physical_attrs 100 100  725  300       0    0    0>
            , <&key_physical_attrs 100 100  825  300       0    0    0>
            , <&key_physical_attrs 100 100  925  300       0    0    0>
            , <&key_physical_attrs 100 100 1025  300       0    0    0>
            , <&key_physical_attrs 100 100 1125  300       0    0    0>
            , <&key_physical_attrs 175 100 1225  300       0    0    0>
            , <&key_physical_attrs 100 100 1425  325       0    0    0>
            , <&key_physical_attrs 100 100 1550  300       0    0    0>
            , <&key_physical_attrs 150 100    0  400       0    0    0>
            , <&key_physical_attrs 150 100  150  400       0    0    0>
            , <&key_physical_attrs 700 100  300  400       0    0    0>
            , <&key_physical_attrs 150 100 1000  400       0    0    0>
            , <&key_physical_attrs 150 100 1150  400       0    0    0>
            , <&key_physical_attrs 100 100 1325  425       0    0    0>
            , <&key_physical_attrs 100 100 1425  425       0    0    0>
            , <&key_physical_attrs 100 100 1525  425       0    0    0>
            ;
    };

    big_bar_full_enter_layout: physical_layout_10 {
        compatible = "zmk,physical-layout";
        display-name = "Full Enter/Split Left Shift/7u";

        transform = <&big_bar_full_enter_transform>;
        keys  //                     w   h    x    y     rot   rx   ry
            = <&key_physical_attrs 100 100    0    0       0    0    0>
            , <&key_physical_attrs 100 100  100    0       0    0    0>
            , <&key_physical_attrs 100 100  200    0       0    0    0>
            , <&key_physical_attrs 100 100  300    0       0    0    0>
            , <&key_physical_attrs 100 100  400    0       0    0    0>
            , <&key_physical_attrs 100 100  500    0       0    0    0>
            , <&key_physical_attrs 100 100  600    0       0    0    0>
            , <&key_physical_attrs 100 100  700    0       0    0    0>
            , <&key_physical_attrs 100 100  800    0       0    0    0>
            , <&key_physical_attrs 100 100  900    0       0    0    0>
            , <&key_physical_attrs 100 100 1000    0       0    0    0>
            , <&key_physical_attrs 100 100 1100    0       0    0    0>
            , <&key_physical_attrs 100 100 1200    0       0    0    0>
            , <&key_physical_attrs 200 100 1300    0       0    0    0>
            , <&key_physical_attrs 150 100    0  100       0    0    0>
            , <&key_physical_attrs 100 100  150  100       0    0    0>
            , <&key_physical_attrs 100 100  250  100       0    0    0>
            , <&key_physical_attrs 100 100  350  100       0    0    0>
            , <&key_physical_attrs 100 100  450  100       0    0    0>
            , <&key_physical_attrs 100 100  550  100       0    0    0>
            , <&key_physical_attrs 100 100  650  100       0    0    0>
            , <&key_physical_attrs 100 100  750  100       0    0    0>
            , <&key_physical_attrs 100 100  850  100       0    0    0>
            , <&key_physical_attrs 100 100  950  100       0    0    0>
            , <&key_physical_attrs 100 100 1050  100       0    0    0>
            , <&key_physical_attrs 100 100 1150  100       0    0    0>
            , <&key_physical_attrs 100 100 1250  100       0    0    0>
            , <&key_physical_attrs 150 100 1350  100       0    0    0>
            , <&key_physical_attrs 175 100    0  200       0    0    0>
            , <&key_physical_attrs 100 100  175  200       0    0    0>
            , <&key_physical_attrs 100 100  275  200       0    0    0>
            , <&key_physical_attrs 100 100  375  200       0    0    0>
            , <&key_physical_attrs 100 100  475  200       0    0    0>
            , <&key_physical_attrs 100 100  575  200       0    0    0>
            , <&key_physical_attrs 100 100  675  200       0    0    0>
            , <&key_physical_attrs 100 100  775  200       0    0    0>
            , <&key_physical_attrs 100 100  875  200       0    0    0>
            , <&key_physical_attrs 100 100  975  200       0    0    0>
            , <&key_physical_attrs 100 100 1075  200       0    0    0>
            , <&key_physical_attrs 100 100 1175  200       0    0    0>
            , <&key_physical_attrs 225 100 1275  200       0    0    0>
            , <&key_physical_attrs 125 100    0  300       0    0    0>
            , <&key_physical_attrs 100 100  125  300       0    0    0>
            , <&key_physical_attrs 100 100  225  300       0    0    0>
            , <&key_physical_attrs 100 100  325  300       0    0    0>
            , <&key_physical_attrs 100 100  425  300       0    0    0>
            , <&key_physical_attrs 100 100  525  300       0    0    0>
            , <&key_physical_attrs 100 100  625  300       0    0    0>
            , <&key_physical_attrs 100 100  725  300       0    0    0>
            , <&key_physical_attrs 100 100  825  300       0    0    0>
            , <&key_physical_attrs 100 100  925  300       0    0    0>
            , <&key_physical_attrs 100 100 1025  300       0    0    0>
            , <&key_physical_attrs 100 100 1125  300       0    0    0>
            , <&key_physical_attrs 175 100 1225  300       0    0    0>
            , <&key_physical_attrs 100 100 1425  325       0    0    0>
            , <&key_physical_attrs 100 100 1550  300       0    0    0>
            , <&key_physical_attrs 150 100    0  400       0    0    0>
            , <&key_physical_attrs 150 100  150  400       0    0    0>
            , <&key_physical_attrs 700 100  300  400       0    0    0>
            , <&key_physical_attrs 100 100 1000  400       0    0    0>
            , <&key_physical_attrs 100 100 1100  400       0    0    0>
            , <&key_physical_attrs 100 100 1200  400       0    0    0>
            , <&key_physical_attrs 100 100 1325  425       0    0    0>
            , <&key_physical_attrs 100 100 1425  425       0    0    0>
            , <&key_physical_attrs 100 100 1525  425       0    0    0>
            ;
    };

    big_bar_full_enter_menuless_layout: physical_layout_11 {
        compatible = "zmk,physical-layout";
        display-name = "Full Enter/Split Left Shift/Menuless/7u";

        transform = <&big_bar_full_enter_menuless_transform>;
        keys  //                     w   h    x    y     rot   rx   ry
            = <&key_physical_attrs 100 100    0    0       0    0    0>
            , <&key_physical_attrs 100 100  100    0       0    0    0>
            , <&key_physical_attrs 100 100  200    0       0    0    0>
            , <&key_physical_attrs 100 100  300    0       0    0    0>
            , <&key_physical_attrs 100 100  400    0       0    0    0>
            , <&key_physical_attrs 100 100  500    0       0    0    0>
            , <&key_physical_attrs 100 100  600    0       0    0    0>
            , <&key_physical_attrs 100 100  700    0       0    0    0>
            , <&key_physical_attrs 100 100  800    0       0    0    0>
            , <&key_physical_attrs 100 100  900    0       0    0    0>
            , <&key_physical_attrs 100 100 1000    0       0    0    0>
            , <&key_physical_attrs 100 100 1100    0       0    0    0>
            , <&key_physical_attrs 100 100 1200    0       0    0    0>
            , <&key_physical_attrs 200 100 1300    0       0    0    0>
            , <&key_physical_attrs 150 100    0  100       0    0    0>
            , <&key_physical_attrs 100 100  150  100       0    0    0>
            , <&key_physical_attrs 100 100  250  100       0    0    0>
            , <&key_physical_attrs 100 100  350  100       0    0    0>
            , <&key_physical_attrs 100 100  450  100       0    0    0>
            , <&key_physical_attrs 100 100  550  100       0    0    0>
            , <&key_physical_attrs 100 100  650  100       0    0    0>
            , <&key_physical_attrs 100 100  750  100       0    0    0>
            , <&key_physical_attrs 100 100  850  100       0    0    0>
            , <&key_physical_attrs 100 100  950  100       0    0    0>
            , <&key_physical_attrs 100 100 1050  100       0    0    0>
            , <&key_physical_attrs 100 100 1150  100       0    0    0>
            , <&key_physical_attrs 100 100 1250  100       0    0    0>
            , <&key_physical_attrs 150 100 1350  100       0    0    0>
            , <&key_physical_attrs 175 100    0  200       0    0    0>
            , <&key_physical_attrs 100 100  175  200       0    0    0>
            , <&key_physical_attrs 100 100  275  200       0    0    0>
            , <&key_physical_attrs 100 100  375  200       0    0    0>
            , <&key_physical_attrs 100 100  475  200       0    0    0>
            , <&key_physical_attrs 100 100  575  200       0    0    0>
            , <&key_physical_attrs 100 100  675  200       0    0    0>
            , <&key_physical_attrs 100 100  775  200       0    0    0>
            , <&key_physical_attrs 100 100  875  200       0    0    0>
            , <&key_physical_attrs 100 100  975  200       0    0    0>
            , <&key_physical_attrs 100 100 1075  200       0    0    0>
            , <&key_physical_attrs 100 100 1175  200       0    0    0>
            , <&key_physical_attrs 225 100 1275  200       0    0    0>
            , <&key_physical_attrs 125 100    0  300       0    0    0>
            , <&key_physical_attrs 100 100  125  300       0    0    0>
            , <&key_physical_attrs 100 100  225  300       0    0    0>
            , <&key_physical_attrs 100 100  325  300       0    0    0>
            , <&key_physical_attrs 100 100  425  300       0    0    0>
            , <&key_physical_attrs 100 100  525  300       0    0    0>
            , <&key_physical_attrs 100 100  625  300       0    0    0>
            , <&key_physical_attrs 100 100  725  300       0    0    0>
            , <&key_physical_attrs 100 100  825  300       0    0    0>
            , <&key_physical_attrs 100 100  925  300       0    0    0>
            , <&key_physical_attrs 100 100 1025  300       0    0    0>
            , <&key_physical_attrs 100 100 1125  300       0    0    0>
            , <&key_physical_attrs 175 100 1225  300       0    0    0>
            , <&key_physical_attrs 100 100 1425  325       0    0    0>
            , <&key_physical_attrs 100 100 1550  300       0    0    0>
            , <&key_physical_attrs 150 100    0  400       0    0    0>
            , <&key_physical_attrs 150 100  150  400       0    0    0>
            , <&key_physical_attrs 700 100  300  400       0    0    0>
            , <&key_physical_attrs 150 100 1000  400       0    0    0>
            , <&key_physical_attrs 150 100 1150  400       0    0    0>
            , <&key_physical_attrs 100 100 1325  425       0    0    0>
            , <&key_physical_attrs 100 100 1425  425       0    0    0>
            , <&key_physical_attrs 100 100 1525  425       0    0    0>
            ;
    };

    big_bar_full_lshift_layout: physical_layout_12 {
        compatible = "zmk,physical-layout";
        display-name = "Split Enter/Full Left Shift/7u";

        transform = <&big_bar_full_lshift_transform>;
        keys  //                     w   h    x    y     rot   rx   ry
            = <&key_physical_attrs 100 100    0    0       0    0    0>
            , <&key_physical_attrs 100 100  100    0       0    0    0>
            , <&key_physical_attrs 100 100  200    0       0    0    0>
            , <&key_physical_attrs 100 100  300    0       0    0    0>
            , <&key_physical_attrs 100 100  400    0       0    0    0>
            , <&key_physical_attrs 100 100  500    0       0    0    0>
            , <&key_physical_attrs 100 100  600    0       0    0    0>
            , <&key_physical_attrs 100 100  700    0       0    0    0>
            , <&key_physical_attrs 100 100  800    0       0    0    0>
            , <&key_physical_attrs 100 100  900    0       0    0    0>
            , <&key_physical_attrs 100 100 1000    0       0    0    0>
            , <&key_physical_attrs 100 100 1100    0       0    0    0>
            , <&key_physical_attrs 100 100 1200    0       0    0    0>
            , <&key_physical_attrs 200 100 1300    0       0    0    0>
            , <&key_physical_attrs 150 100    0  100       0    0    0>
            , <&key_physical_attrs 100 100  150  100       0    0    0>
            , <&key_physical_attrs 100 100  250  100       0    0    0>
            , <&key_physical_attrs 100 100  350  100       0    0    0>
            , <&key_physical_attrs 100 100  450  100       0    0    0>
            , <&key_physical_attrs 100 100  550  100       0    0    0>
            , <&key_physical_attrs 100 100  650  100       0    0    0>
            , <&key_physical_attrs 100 100  750  100       0    0    0>
            , <&key_physical_attrs 100 100  850  100       0    0    0>
            , <&key_physical_attrs 100 100  950  100       0    0    0>
            , <&key_physical_attrs 100 100 1050  100       0    0    0>
            , <&key_physical_attrs 100 100 1150  100       0    0    0>
            , <&key_physical_attrs 100 100 1250  100       0    0    0>
            , <&key_physical_attrs 150 100 1350  100       0    0    0>
            , <&key_physical_attrs 175 100    0  200       0    0    0>
            , <&key_physical_attrs 100 100  175  200       0    0    0>
            , <&key_physical_attrs 100 100  275  200       0    0    0>
            , <&key_physical_attrs 100 100  375  200       0    0    0>
            , <&key_physical_attrs 100 100  475  200       0    0    0>
            , <&key_physical_attrs 100 100  575  200       0    0    0>
            , <&key_physical_attrs 100 100  675  200       0    0    0>
            , <&key_physical_attrs 100 100  775  200       0    0    0>
            , <&key_physical_attrs 100 100  875  200       0    0    0>
            , <&key_physical_attrs 100 100  975  200       0    0    0>
            , <&key_physical_attrs 100 100 1075  200       0    0    0>
            , <&key_physical_attrs 100 100 1175  200       0    0    0>
            , <&key_physical_attrs 100 100 1275  200       0    0    0>
            , <&key_physical_attrs 125 100 1375  200       0    0    0>
            , <&key_physical_attrs 225 100    0  300       0    0    0>
            , <&key_physical_attrs 100 100  225  300       0    0    0>
            , <&key_physical_attrs 100 100  325  300       0    0    0>
            , <&key_physical_attrs 100 100  425  300       0    0    0>
            , <&key_physical_attrs 100 100  525  300       0    0    0>
            , <&key_physical_attrs 100 100  625  300       0    0    0>
            , <&key_physical_attrs 100 100  725  300       0    0    0>
            , <&key_physical_attrs 100 100  825  300       0    0    0>
            , <&key_physical_attrs 100 100  925  300       0    0    0>
            , <&key_physical_attrs 100 100 1025  300       0    0    0>
            , <&key_physical_attrs 100 100 1125  300       0    0    0>
            , <&key_physical_attrs 175 100 1225  300       0    0    0>
            , <&key_physical_attrs 100 100 1425  325       0    0    0>
            , <&key_physical_attrs 100 100 1550  300       0    0    0>
            , <&key_physical_attrs 150 100    0  400       0    0    0>
            , <&key_physical_attrs 150 100  150  400       0    0    0>
            , <&key_physical_attrs 700 100  300  400       0    0    0>
            , <&key_physical_attrs 100 100 1000  400       0    0    0>
            , <&key_physical_attrs 100 100 1100  400       0    0    0>
            , <&key_physical_attrs 100 100 1200  400       0    0    0>
            , <&key_physical_attrs 100 100 1325  425       0    0    0>
            , <&key_physical_attrs 100 100 1425  425       0    0    0>
            , <&key_physical_attrs 100 100 1525  425       0    0    0>
            ;
    };

    big_bar_full_enter_full_lshift_layout: physical_layout_13 {
        compatible = "zmk,physical-layout";
        display-name = "Full Enter/Full Left Shift/7u";

        transform = <&big_bar_full_enter_full_lshift_transform>;
        keys  //                     w   h    x    y     rot   rx   ry
            = <&key_physical_attrs 100 100    0    0       0    0    0>
            , <&key_physical_attrs 100 100  100    0       0    0    0>
            , <&key_physical_attrs 100 100  200    0       0    0    0>
            , <&key_physical_attrs 100 100  300    0       0    0    0>
            , <&key_physical_attrs 100 100  400    0       0    0    0>
            , <&key_physical_attrs 100 100  500    0       0    0    0>
            , <&key_physical_attrs 100 100  600    0       0    0    0>
            , <&key_physical_attrs 100 100  700    0       0    0    0>
            , <&key_physical_attrs 100 100  800    0       0    0    0>
            , <&key_physical_attrs 100 100  900    0       0    0    0>
            , <&key_physical_attrs 100 100 1000    0       0    0    0>
            , <&key_physical_attrs 100 100 1100    0       0    0    0>
            , <&key_physical_attrs 100 100 1200    0       0    0    0>
            , <&key_physical_attrs 200 100 1300    0       0    0    0>
            , <&key_physical_attrs 150 100    0  100       0    0    0>
            , <&key_physical_attrs 100 100  150  100       0    0    0>
            , <&key_physical_attrs 100 100  250  100       0    0    0>
            , <&key_physical_attrs 100 100  350  100       0    0    0>
            , <&key_physical_attrs 100 100  450  100       0    0    0>
            , <&key_physical_attrs 100 100  550  100       0    0    0>
            , <&key_physical_attrs 100 100  650  100       0    0    0>
            , <&key_physical_attrs 100 100  750  100       0    0    0>
            , <&key_physical_attrs 100 100  850  100       0    0    0>
            , <&key_physical_attrs 100 100  950  100       0    0    0>
            , <&key_physical_attrs 100 100 1050  100       0    0    0>
            , <&key_physical_attrs 100 100 1150  100       0    0    0>
            , <&key_physical_attrs 100 100 1250  100       0    0    0>
            , <&key_physical_attrs 150 100 1350  100       0    0    0>
            , <&key_physical_attrs 175 100    0  200       0    0    0>
            , <&key_physical_attrs 100 100  175  200       0    0    0>
            , <&key_physical_attrs 100 100  275  200       0    0    0>
            , <&key_physical_attrs 100 100  375  200       0    0    0>
            , <&key_physical_attrs 100 100  475  200       0    0    0>
            , <&key_physical_attrs 100 100  575  200       0    0    0>
            , <&key_physical_attrs 100 100  675  200       0    0    0>
            , <&key_physical_attrs 100 100  775  200       0    0    0>
            , <&key_physical_attrs 100 100  875  200       0    0    0>
            , <&key_physical_attrs 100 100  975  200       0    0    0>
            , <&key_physical_attrs 100 100 1075  200       0    0    0>
            , <&key_physical_attrs 100 100 1175  200       0    0    0>
            , <&key_physical_attrs 225 100 1275  200       0    0    0>
            , <&key_physical_attrs 225 100    0  300       0    0    0>
            , <&key_physical_attrs 100 100  225  300       0    0    0>
            , <&key_physical_attrs 100 100  325  300       0    0    0>
            , <&key_physical_attrs 100 100  425  300       0    0    0>
            , <&key_physical_attrs 100 100  525  300       0    0    0>
            , <&key_physical_attrs 100 100  625  300       0    0    0>
            , <&key_physical_attrs 100 100  725  300       0    0    0>
            , <&key_physical_attrs 100 100  825  300       0    0    0>
            , <&key_physical_attrs 100 100  925  300       0    0    0>
            , <&key_physical_attrs 100 100 1025  300       0    0    0>
            , <&key_physical_attrs 100 100 1125  300       0    0    0>
            , <&key_physical_attrs 175 100 1225  300       0    0    0>
            , <&key_physical_attrs 100 100 1425  325       0    0    0>
            , <&key_physical_attrs 100 100 1550  300       0    0    0>
            , <&key_physical_attrs 150 100    0  400       0    0    0>
            , <&key_physical_attrs 150 100  150  400       0    0    0>
            , <&key_physical_attrs 700 100  300  400       0    0    0>
            , <&key_physical_attrs 100 100 1000  400       0    0    0>
            , <&key_physical_attrs 100 100 1100  400       0    0    0>
            , <&key_physical_attrs 100 100 1200  400       0    0    0>
            , <&key_physical_attrs 100 100 1325  425       0    0    0>
            , <&key_physical_attrs 100 100 1425  425       0    0    0>
            , <&key_physical_attrs 100 100 1525  425       0    0    0>
            ;
    };

    big_bar_full_lshift_menuless_layout: physical_layout_14 {
        compatible = "zmk,physical-layout";
        display-name = "Split Enter/Full Left Shift/Menuless/7u";

        transform = <&big_bar_full_lshift_menuless_transform>;
        keys  //                     w   h    x    y     rot   rx   ry
            = <&key_physical_attrs 100 100    0    0       0    0    0>
            , <&key_physical_attrs 100 100  100    0       0    0    0>
            , <&key_physical_attrs 100 100  200    0       0    0    0>
            , <&key_physical_attrs 100 100  300    0       0    0    0>
            , <&key_physical_attrs 100 100  400    0       0    0    0>
            , <&key_physical_attrs 100 100  500    0       0    0    0>
            , <&key_physical_attrs 100 100  600    0       0    0    0>
            , <&key_physical_attrs 100 100  700    0       0    0    0>
            , <&key_physical_attrs 100 100  800    0       0    0    0>
            , <&key_physical_attrs 100 100  900    0       0    0    0>
            , <&key_physical_attrs 100 100 1000    0       0    0    0>
            , <&key_physical_attrs 100 100 1100    0       0    0    0>
            , <&key_physical_attrs 100 100 1200    0       0    0    0>
            , <&key_physical_attrs 200 100 1300    0       0    0    0>
            , <&key_physical_attrs 150 100    0  100       0    0    0>
            , <&key_physical_attrs 100 100  150  100       0    0    0>
            , <&key_physical_attrs 100 100  250  100       0    0    0>
            , <&key_physical_attrs 100 100  350  100       0    0    0>
            , <&key_physical_attrs 100 100  450  100       0    0    0>
            , <&key_physical_attrs 100 100  550  100       0    0    0>
            , <&key_physical_attrs 100 100  650  100       0    0    0>
            , <&key_physical_attrs 100 100  750  100       0    0    0>
            , <&key_physical_attrs 100 100  850  100       0    0    0>
            , <&key_physical_attrs 100 100  950  100       0    0    0>
            , <&key_physical_attrs 100 100 1050  100       0    0    0>
            , <&key_physical_attrs 100 100 1150  100       0    0    0>
            , <&key_physical_attrs 100 100 1250  100       0    0    0>
            , <&key_physical_attrs 150 100 1350  100       0    0    0>
            , <&key_physical_attrs 175 100    0  200       0    0    0>
            , <&key_physical_attrs 100 100  175  200       0    0    0>
            , <&key_physical_attrs 100 100  275  200       0    0    0>
            , <&key_physical_attrs 100 100  375  200       0    0    0>
            , <&key_physical_attrs 100 100  475  200       0    0    0>
            , <&key_physical_attrs 100 100  575  200       0    0    0>
            , <&key_physical_attrs 100 100  675  200       0    0    0>
            , <&key_physical_attrs 100 100  775  200       0    0    0>
            , <&key_physical_attrs 100 100  875  200       0    0    0>
            , <&key_physical_attrs 100 100  975  200       0    0    0>
            , <&key_physical_attrs 100 100 1075  200       0    0    0>
            , <&key_physical_attrs 100 100 1175  200       0    0    0>
            , <&key_physical_attrs 100 100 1275  200       0    0    0>
            , <&key_physical_attrs 125 100 1375  200       0    0    0>
            , <&key_physical_attrs 225 100    0  300       0    0    0>
            , <&key_physical_attrs 100 100  225  300       0    0    0>
            , <&key_physical_attrs 100 100  325  300       0    0    0>
            , <&key_physical_attrs 100 100  425  300       0    0    0>
            , <&key_physical_attrs 100 100  525  300       0    0    0>
            , <&key_physical_attrs 100 100  625  300       0    0    0>
            , <&key_physical_attrs 100 100  725  300       0    0    0>
            , <&key_physical_attrs 100 100  825  300       0    0    0>
            , <&key_physical_attrs 100 100  925  300       0    0    0>
            , <&key_physical_attrs 100 100 1025  300       0    0    0>
            , <&key_physical_attrs 100 100 1125  300       0    0    0>
            , <&key_physical_attrs 175 100 1225  300       0    0    0>
            , <&key_physical_attrs 100 100 1425  325       0    0    0>
            , <&key_physical_attrs 100 100 1550  300       0    0    0>
            , <&key_physical_attrs 150 100    0  400       0    0    0>
            , <&key_physical_attrs 150 100  150  400       0    0    0>
            , <&key_physical_attrs 700 100  300  400       0    0    0>
            , <&key_physical_attrs 150 100 1000  400       0    0    0>
            , <&key_physical_attrs 150 100 1150  400       0    0    0>
            , <&key_physical_attrs 100 100 1325  425       0    0    0>
            , <&key_physical_attrs 100 100 1425  425       0    0    0>
            , <&key_physical_attrs 100 100 1525  425       0    0    0>
            ;
    };

    big_bar_full_enter_full_lshift_menuless_layout: physical_layout_15 {
        compatible = "zmk,physical-layout";
        display-name = "Full Enter/Full Left Shift/Menuless/7u";

        transform = <&big_bar_full_enter_full_lshift_menuless_transform>;
        keys  //                     w   h    x    y     rot   rx   ry
            = <&key_physical_attrs 100 100    0    0       0    0    0>
            , <&key_physical_attrs 100 100  100    0       0    0    0>
            , <&key_physical_attrs 100 100  200    0       0    0    0>
            , <&key_physical_attrs 100 100  300    0       0    0    0>
            , <&key_physical_attrs 100 100  400    0       0    0    0>
            , <&key_physical_attrs 100 100  500    0       0    0    0>
            , <&key_physical_attrs 100 100  600    0       0    0    0>
            , <&key_physical_attrs 100 100  700    0       0    0    0>
            , <&key_physical_attrs 100 100  800    0       0    0    0>
            , <&key_physical_attrs 100 100  900    0       0    0    0>
            , <&key_physical_attrs 100 100 1000    0       0    0    0>
            , <&key_physical_attrs 100 100 1100    0       0    0    0>
            , <&key_physical_attrs 100 100 1200    0       0    0    0>
            , <&key_physical_attrs 200 100 1300    0       0    0    0>
            , <&key_physical_attrs 150 100    0  100       0    0    0>
            , <&key_physical_attrs 100 100  150  100       0    0    0>
            , <&key_physical_attrs 100 100  250  100       0    0    0>
            , <&key_physical_attrs 100 100  350  100       0    0    0>
            , <&key_physical_attrs 100 100  450  100       0    0    0>
            , <&key_physical_attrs 100 100  550  100       0    0    0>
            , <&key_physical_attrs 100 100  650  100       0    0    0>
            , <&key_physical_attrs 100 100  750  100       0    0    0>
            , <&key_physical_attrs 100 100  850  100       0    0    0>
            , <&key_physical_attrs 100 100  950  100       0    0    0>
            , <&key_physical_attrs 100 100 1050  100       0    0    0>
            , <&key_physical_attrs 100 100 1150  100       0    0    0>
            , <&key_physical_attrs 100 100 1250  100       0    0    0>
            , <&key_physical_attrs 150 100 1350  100       0    0    0>
            , <&key_physical_attrs 175 100    0  200       0    0    0>
            , <&key_physical_attrs 100 100  175  200       0    0    0>
            , <&key_physical_attrs 100 100  275  200       0    0    0>
            , <&key_physical_attrs 100 100  375  200       0    0    0>
            , <&key_physical_attrs 100 100  475  200       0    0    0>
            , <&key_physical_attrs 100 100  575  200       0    0    0>
            , <&key_physical_attrs 100 100  675  200       0    0    0>
            , <&key_physical_attrs 100 100  775  200       0    0    0>
            , <&key_physical_attrs 100 100  875  200       0    0    0>
            , <&key_physical_attrs 100 100  975  200       0    0    0>
            , <&key_physical_attrs 100 100 1075  200       0    0    0>
            , <&key_physical_attrs 100 100 1175  200       0    0    0>
            , <&key_physical_attrs 225 100 1275  200       0    0    0>
            , <&key_physical_attrs 225 100    0  300       0    0    0>
            , <&key_physical_attrs 100 100  225  300       0    0    0>
            , <&key_physical_attrs 100 100  325  300       0    0    0>
            , <&key_physical_attrs 100 100  425  300       0    0    0>
            , <&key_physical_attrs 100 100  525  300       0    0    0>
            , <&key_physical_attrs 100 100  625  300       0    0    0>
            , <&key_physical_attrs 100 100  725  300       0    0    0>
            , <&key_physical_attrs 100 100  825  300       0    0    0>
            , <&key_physical_attrs 100 100  925  300       0    0    0>
            , <&key_physical_attrs 100 100 1025  300       0    0    0>
            , <&key_physical_attrs 100 100 1125  300       0    0    0>
            , <&key_physical_attrs 175 100 1225  300       0    0    0>
            , <&key_physical_attrs 100 100 1425  325       0    0    0>
            , <&key_physical_attrs 100 100 1550  300       0    0    0>
            , <&key_physical_attrs 150 100    0  400       0    0    0>
            , <&key_physical_attrs 150 100  150  400       0    0    0>
            , <&key_physical_attrs 700 100  300  400       0    0    0>
            , <&key_physical_attrs 150 100 1000  400       0    0    0>
            , <&key_physical_attrs 150 100 1150  400       0    0    0>
            , <&key_physical_attrs 100 100 1325  425       0    0    0>
            , <&key_physical_attrs 100 100 1425  425       0    0    0>
            , <&key_physical_attrs 100 100 1525  425       0    0    0>
            ;
    };

    position_map {
        compatible = "zmk,physical-layout-position-map";

        default_map {
            physical-layout = <&default_layout>;
            positions = <40 41 42 43 57 58 59 60 61 62 63>;
        };

        full_enter_map {
            physical-layout = <&full_enter_layout>;
            positions = <66 40 41 42 56 57 58 59 60 61 62>;
        };

        full_lshift_map {
            physical-layout = <&full_lshift_layout>;
            positions = <40 41 42 66 56 57 58 59 60 61 62>;
        };

        menuless_map {
            physical-layout = <&menuless_layout>;
            positions = <40 41 42 43 57 58 59 60 61 66 62>;
        };

        full_enter_menuless_map {
            physical-layout = <&full_enter_menuless_layout>;
            positions = <65 40 41 42 56 57 58 59 60 66 61>;
        };

        full_lshift_menuless_map {
            physical-layout = <&full_lshift_menuless_layout>;
            positions = <40 41 42 65 56 57 58 59 60 66 61>;
        };

        full_enter_full_lshift_map {
            physical-layout = <&full_enter_full_lshift_layout>;
            positions = <65 40 41 66 55 56 57 58 59 60 61>;
        };

        full_enter_full_lshift_menuless_map {
            physical-layout = <&full_enter_full_lshift_menuless_layout>;
            positions = <64 40 41 65 55 56 57 58 59 66 60>;
        };

        big_bar_map {
            physical-layout = <&big_bar_layout>;
            positions = <40 41 42 43 57 66 58 59 60 61 62>;
        };

        big_bar_menuless_map {
            physical-layout = <&big_bar_menuless_layout>;
            positions = <40 41 42 43 57 65 58 59 60 66 61>;
        };

        big_bar_full_enter_map {
            physical-layout = <&big_bar_full_enter_layout>;
            positions = <65 40 41 42 56 66 57 58 59 60 61>;
        };

        big_bar_full_enter_menuless_map {
            physical-layout = <&big_bar_full_enter_menuless_layout>;
            positions = <64 40 41 42 56 65 57 58 59 66 60>;
        };

        big_bar_full_lshift_map {
            physical-layout = <&big_bar_full_lshift_layout>;
            positions = <40 41 42 65 56 66 57 58 59 60 61>;
        };

        big_bar_full_enter_full_lshift_map {
            physical-layout = <&big_bar_full_enter_full_lshift_layout>;
            positions = <64 40 41 65 55 66 56 57 58 59 60>;
        };

        big_bar_full_lshift_menuless_map {
            physical-layout = <&big_bar_full_lshift_menuless_layout>;
            positions = <40 41 42 64 56 65 57 58 59 66 60>;
        };

        big_bar_full_enter_full_lshift_menuless_map {
            physical-layout = <&big_bar_full_enter_full_lshift_menuless_layout>;
            positions = <63 40 41 64 55 65 56 57 58 66 59>;
        };
    };
};
